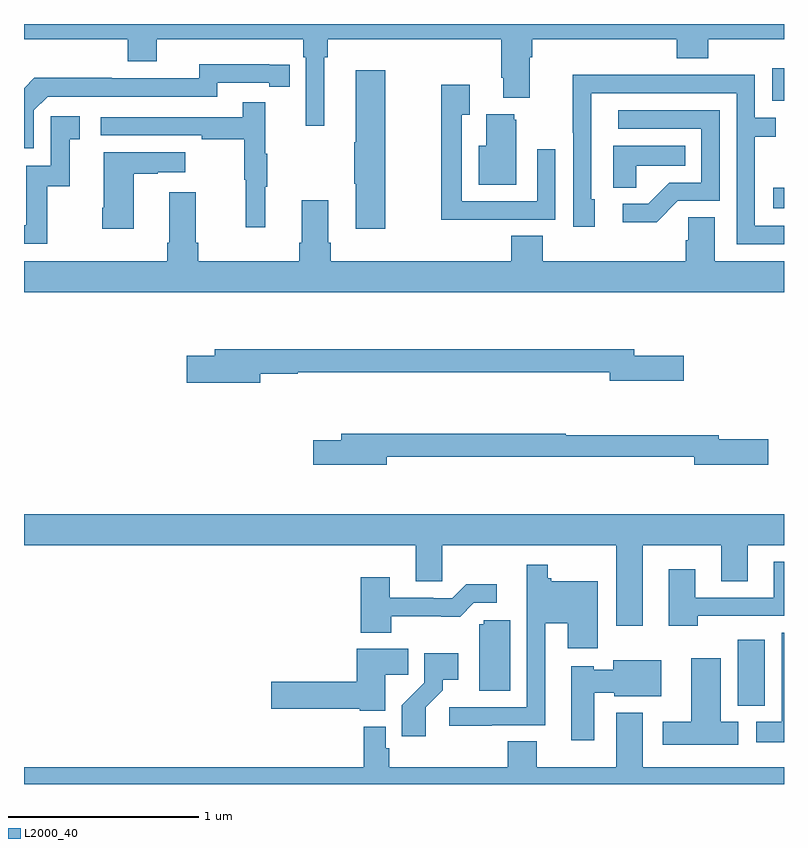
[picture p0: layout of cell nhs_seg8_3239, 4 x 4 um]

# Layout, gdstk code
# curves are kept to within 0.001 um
import gdstk
lib = gdstk.Library(unit=1e-6, precision=1e-09)
def R(c, l, rs):  # rectangles x0, y0, x1, y1
    for r in rs: c.add(gdstk.rectangle(r[:2], r[2:], *l))
def P(c, l, *ps):  # polygons
    for p in ps: c.add(gdstk.Polygon(p, *l))
L2000_40 = (2000, 40)

nhs_seg8_3239 = lib.new_cell('nhs_seg8_3239')
R(nhs_seg8_3239, L2000_40, [(314.756,1126.313,314.899,1126.66), (314.943,1128.929,315,1129.039), (314.937,1129.497,315,1129.666)])
P(nhs_seg8_3239, L2000_40, [(313.511,1129.618),(313.523,1129.618),(313.523,1129.511),(313.663,1129.511),(313.663,1129.724),(313.676,1129.724),(313.676,1129.82),(314.435,1129.82),(314.435,1129.721),(314.6,1129.721),(314.6,1129.82),(315,1129.82),(315,1129.9),(311,1129.9),(311,1129.82),(311.546,1129.82),(311.546,1129.703),(311.698,1129.703),(311.698,1129.82),(312.47,1129.82),(312.47,1129.724),(312.483,1129.724),(312.483,1129.365),(312.58,1129.365),(312.58,1129.724),(312.599,1129.724),(312.599,1129.82),(313.511,1129.82)],
  [(311.052,1129.446),(311.124,1129.518),(312.018,1129.518),(312.018,1129.59),(312.29,1129.59),(312.29,1129.57),(312.398,1129.57),(312.398,1129.686),(311.922,1129.687),(311.922,1129.614),(311.462,1129.614),(311.462,1129.616),(311.054,1129.616),(311,1129.562),(311,1129.245),(311.052,1129.245)],
  [(312.9,1129.657),(312.746,1129.657),(312.746,1129.277),(312.739,1129.277),(312.739,1129.06),(312.746,1129.06),(312.746,1128.822),(312.9,1128.822)],
  [(315,1128.837),(314.847,1128.837),(314.847,1129.306),(314.957,1129.306),(314.957,1129.407),(314.847,1129.407),(314.847,1129.632),(314.351,1129.632),(314.351,1129.634),(313.888,1129.634),(313.888,1129.327),(313.89,1129.327),(313.89,1128.834),(314.005,1128.834),(314.005,1128.978),(313.986,1128.978),(313.986,1129.536),(314.751,1129.536),(314.751,1128.741),(315,1128.741)],
  [(313.481,1128.87),(313.797,1128.87),(313.797,1129.24),(313.701,1129.24),(313.701,1128.966),(313.305,1128.966),(313.305,1129.423),(313.345,1129.423),(313.345,1129.579),(313.197,1129.579),(313.197,1128.869),(313.481,1128.869)],
  [(312.269,1129.043),(312.28,1129.043),(312.28,1129.217),(312.269,1129.217),(312.269,1129.489),(312.151,1129.489),(312.151,1129.41),(311.403,1129.41),(311.403,1129.314),(311.935,1129.314),(311.935,1129.294),(312.159,1129.294),(312.159,1129.08),(312.166,1129.08),(312.166,1128.831),(312.269,1128.831)],
  [(314.442,1128.969),(314.661,1128.969),(314.661,1129.446),(314.127,1129.446),(314.127,1129.35),(314.565,1129.35),(314.565,1129.065),(314.396,1129.065),(314.285,1128.954),(314.151,1128.954),(314.151,1128.857),(314.329,1128.857)],
  [(313.591,1129.395),(313.58,1129.395),(313.58,1129.426),(313.433,1129.426),(313.433,1129.258),(313.394,1129.258),(313.394,1129.055),(313.591,1129.055)],
  [(311.122,1129.047),(311.24,1129.047),(311.24,1129.293),(311.293,1129.293),(311.293,1129.414),(311.142,1129.414),(311.142,1129.155),(311.013,1129.155),(311.013,1128.84),(311,1128.84),(311,1128.744),(311.122,1128.744)],
  [(314.223,1129.154),(314.48,1129.154),(314.48,1129.258),(314.102,1129.258),(314.102,1129.039),(314.223,1129.039)],
  [(311.578,1129.111),(311.705,1129.111),(311.705,1129.121),(311.848,1129.121),(311.848,1129.225),(311.42,1129.225),(311.42,1128.934),(311.413,1128.934),(311.413,1128.822),(311.578,1128.822)],
  [(315,1128.652),(314.635,1128.652),(314.635,1128.884),(314.496,1128.884),(314.496,1128.761),(314.483,1128.761),(314.483,1128.652),(313.73,1128.652),(313.73,1128.785),(313.565,1128.785),(313.565,1128.652),(312.614,1128.652),(312.614,1128.748),(312.601,1128.748),(312.601,1128.973),(312.461,1128.973),(312.461,1128.748),(312.449,1128.748),(312.449,1128.652),(311.918,1128.652),(311.918,1128.748),(311.905,1128.748),(311.905,1129.015),(311.765,1129.015),(311.765,1128.748),(311.753,1128.748),(311.753,1128.652),(311,1128.652),(311,1128.488),(315,1128.488)],
  [(312.244,1128.058),(312.44,1128.058),(312.44,1128.066),(314.084,1128.066),(314.084,1128.023),(314.473,1128.023),(314.473,1128.153),(314.212,1128.153),(314.212,1128.187),(312.005,1128.187),(312.005,1128.153),(311.856,1128.153),(311.856,1128.011),(312.244,1128.011)],
  [(312.91,1127.622),(314.528,1127.622),(314.528,1127.579),(314.917,1127.579),(314.917,1127.714),(314.656,1127.714),(314.656,1127.735),(313.852,1127.735),(313.852,1127.743),(312.671,1127.743),(312.671,1127.709),(312.522,1127.709),(312.522,1127.579),(312.91,1127.579)],
  [(314.257,1127.156),(314.669,1127.156),(314.669,1126.966),(314.809,1126.966),(314.809,1127.156),(315,1127.156),(315,1127.32),(311,1127.32),(311,1127.156),(313.061,1127.156),(313.061,1126.966),(313.2,1126.966),(313.2,1127.156),(314.117,1127.156),(314.117,1126.734),(314.257,1126.734)],
  [(314.546,1126.785),(315,1126.785),(315,1127.071),(314.945,1127.071),(314.945,1126.881),(314.533,1126.881),(314.533,1127.029),(314.393,1127.029),(314.393,1126.734),(314.546,1126.734)],
  [(313.463,1126.209),(313.744,1126.209),(313.744,1126.745),(313.862,1126.745),(313.862,1126.614),(314.02,1126.614),(314.02,1126.966),(313.776,1126.966),(313.776,1126.984),(313.756,1126.984),(313.756,1127.053),(313.647,1127.053),(313.647,1126.305),(313.239,1126.305),(313.239,1126.207),(313.463,1126.207)],
  [(312.933,1126.782),(313.295,1126.781),(313.368,1126.854),(313.489,1126.854),(313.489,1126.951),(313.327,1126.951),(313.254,1126.878),(313.154,1126.878),(313.154,1126.881),(312.925,1126.881),(312.925,1126.987),(312.773,1126.987),(312.773,1126.697),(312.933,1126.697)],
  [(313.558,1126.761),(313.419,1126.761),(313.419,1126.74),(313.397,1126.74),(313.397,1126.392),(313.558,1126.392)],
  [(315,1126.695),(314.988,1126.695),(314.988,1126.228),(314.853,1126.228),(314.853,1126.121),(315,1126.121)],
  [(312.901,1126.474),(313.022,1126.474),(313.022,1126.612),(312.752,1126.612),(312.752,1126.439),(312.3,1126.439),(312.3,1126.297),(312.768,1126.297),(312.768,1126.286),(312.901,1126.286)],
  [(313.114,1126.303),(313.204,1126.393),(313.204,1126.448),(313.285,1126.448),(313.285,1126.588),(313.107,1126.588),(313.107,1126.433),(312.988,1126.314),(312.988,1126.152),(313.114,1126.152)],
  [(314.758,1126.228),(314.668,1126.228),(314.668,1126.561),(314.513,1126.561),(314.513,1126.228),(314.361,1126.228),(314.361,1126.106),(314.758,1126.106)],
  [(314.002,1126.379),(314.106,1126.379),(314.106,1126.361),(314.353,1126.361),(314.353,1126.552),(314.102,1126.552),(314.102,1126.501),(313.998,1126.501),(313.998,1126.519),(313.88,1126.519),(313.88,1126.131),(314.002,1126.131)],
  [(314.257,1126.276),(314.117,1126.276),(314.117,1125.988),(313.699,1125.988),(313.699,1126.124),(313.547,1126.124),(313.547,1125.988),(312.923,1125.988),(312.923,1126.089),(312.903,1126.089),(312.903,1126.201),(312.787,1126.201),(312.787,1125.988),(311,1125.988),(311,1125.9),(315,1125.9),(315,1125.988),(314.257,1125.988)])

lib.write_gds('nhs_seg8_3239.gds')
